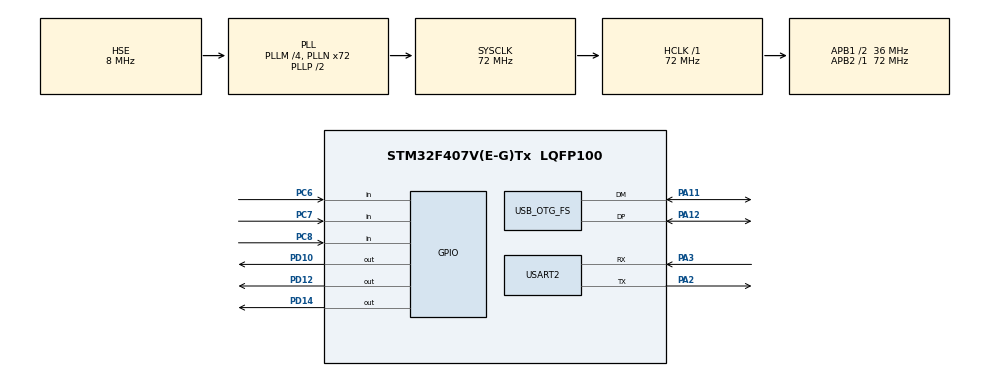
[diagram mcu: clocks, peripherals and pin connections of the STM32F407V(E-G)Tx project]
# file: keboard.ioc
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Mcu.Family=STM32F4
Mcu.Name=STM32F407V(E-G)Tx
Mcu.Package=LQFP100
NVIC.OTG_FS_IRQn=true\:0\:0\:false\:false\:true\:false\:true\:true
NVIC.PriorityGroup=NVIC_PRIORITYGROUP_4
PA11.Mode=Device_Only
PA11.Signal=USB_OTG_FS_DM
PA12.Mode=Device_Only
PA12.Signal=USB_OTG_FS_DP
PA13.Mode=Serial_Wire
PA13.Signal=SYS_JTMS-SWDIO
PA14.Mode=Serial_Wire
PA14.Signal=SYS_JTCK-SWCLK
PA2.Mode=Asynchronous
PA2.Signal=USART2_TX
PA3.Mode=Asynchronous
PA3.Signal=USART2_RX
PC6.Signal=GPIO_Input
PC7.Signal=GPIO_Input
PC8.Signal=GPIO_Input
PD10.Signal=GPIO_Output
PD12.Signal=GPIO_Output
PD14.Signal=GPIO_Output
PH0-OSC_IN.Mode=HSE-External-Oscillator
PH0-OSC_IN.Signal=RCC_OSC_IN
PH1-OSC_OUT.Mode=HSE-External-Oscillator
PH1-OSC_OUT.Signal=RCC_OSC_OUT
ProjectManager.HeapSize=0x200
ProjectManager.StackSize=0x400
ProjectManager.TargetToolchain=Makefile
RCC.48MHZClocksFreq_Value=48000000
RCC.AHBFreq_Value=72000000
RCC.APB1CLKDivider=RCC_HCLK_DIV2
RCC.APB1Freq_Value=36000000
RCC.APB1TimFreq_Value=72000000
RCC.APB2Freq_Value=72000000
RCC.APB2TimFreq_Value=72000000
RCC.CortexFreq_Value=72000000
RCC.HCLKFreq_Value=72000000
RCC.HSE_VALUE=8000000
RCC.HSI_VALUE=16000000
RCC.LSE_VALUE=32768
RCC.PLLM=4
RCC.PLLN=72
RCC.PLLQ=3
RCC.SYSCLKFreq_VALUE=72000000
RCC.SYSCLKSource=RCC_SYSCLKSOURCE_PLLCLK
RCC.VCOOutputFreq_Value=144000000
USART2.VirtualMode=VM_ASYNC
USB_DEVICE.CLASS_NAME_FS=HID
USB_DEVICE.VirtualMode-HID_FS=Hid
USB_DEVICE.VirtualModeFS=Hid_FS
USB_OTG_FS.VirtualMode=Device_Only
VP_USB_DEVICE_VS_USB_DEVICE_HID_FS.Mode=HID_FS
board=custom

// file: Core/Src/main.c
/* USER CODE BEGIN Header */
/**
 ******************************************************************************
 * @file           : main.c
 * @brief          : Main program body
 ******************************************************************************
 * @attention
 *
 * Copyright (c) 2025 STMicroelectronics.
 * All rights reserved.
 *
 * This software is licensed under terms that can be found in the LICENSE file
 * in the root directory of this software component.
 * If no LICENSE file comes with this software, it is provided AS-IS.
 *
 ******************************************************************************
 */
/* USER CODE END Header */
#include "main.h"
#include "usb_device.h"

/* USER CODE BEGIN Includes */
#include "matrix_keyboard.h"
#include "usb_keyboard.h"
#include "usbd_hid.h"
#include <stdio.h>
/* USER CODE END Includes */

UART_HandleTypeDef huart2;

/* USER CODE BEGIN PV */
uint32_t scan_timer = 0;
/* USER CODE END PV */

void SystemClock_Config(void);
static void MX_GPIO_Init(void);
static void MX_USART2_UART_Init(void);

/* USER CODE BEGIN 0 */

/**
 * @brief Printf 重定向到 UART
 */
#ifdef __GNUC__
#define PUTCHAR_PROTOTYPE int __io_putchar(int ch)
#else
#define PUTCHAR_PROTOTYPE int fputc(int ch, FILE *f)
#endif

PUTCHAR_PROTOTYPE {
  HAL_UART_Transmit(&huart2, (uint8_t *)&ch, 1, HAL_MAX_DELAY);
  return ch;
}

/* USER CODE END 0 */

int main(void)
{

  /* MCU Configuration--------------------------------------------------------*/

  /* Reset of all peripherals, Initializes the Flash interface and the Systick. */
  HAL_Init();

  /* Configure the system clock */
  SystemClock_Config();

  /* Initialize all configured peripherals */
  MX_GPIO_Init();
  MX_USART2_UART_Init();
  MX_USB_DEVICE_Init();
  /* USER CODE BEGIN 2 */

  /* Initialize matrix keyboard */
  Matrix_Keyboard_Init();

  /* Initialize USB keyboard */
  USB_Keyboard_Init();

  /* Print welcome message */
  printf("\r\n===============================================\r\n");
  printf("   USB Keyboard - STM32F407\r\n");
  printf("   Matrix: 3x3 (9 keys)\r\n");
  printf("   USB: HID Keyboard\r\n");
  printf("   UART2: 115200 baud\r\n");
  printf("===============================================\r\n");
  printf("Waiting for USB connection...\r\n\r\n");

  /* USER CODE END 2 */

  /* Infinite loop */
  while (1) {

    /* USER CODE BEGIN 3 */
    /* Scan keyboard every 10ms */
    if ((HAL_GetTick() - scan_timer) >= 10) {
      scan_timer = HAL_GetTick();
      Matrix_Keyboard_Scan();
    }
  }
  /* USER CODE END 3 */
}

void SystemClock_Config(void)
{
  RCC_OscInitTypeDef RCC_OscInitStruct = {0};
  RCC_ClkInitTypeDef RCC_ClkInitStruct = {0};

  /** Configure the main internal regulator output voltage
  */
  __HAL_RCC_PWR_CLK_ENABLE();
  __HAL_PWR_VOLTAGESCALING_CONFIG(PWR_REGULATOR_VOLTAGE_SCALE1);

  /** Initializes the RCC Oscillators according to the specified parameters
  * in the RCC_OscInitTypeDef structure.
  */
  RCC_OscInitStruct.OscillatorType = RCC_OSCILLATORTYPE_HSE;
  RCC_OscInitStruct.HSEState = RCC_HSE_ON;
  RCC_OscInitStruct.PLL.PLLState = RCC_PLL_ON;
  RCC_OscInitStruct.PLL.PLLSource = RCC_PLLSOURCE_HSE;
  RCC_OscInitStruct.PLL.PLLM = 4;
  RCC_OscInitStruct.PLL.PLLN = 72;
  RCC_OscInitStruct.PLL.PLLP = RCC_PLLP_DIV2;
  RCC_OscInitStruct.PLL.PLLQ = 3;
  if (HAL_RCC_OscConfig(&RCC_OscInitStruct) != HAL_OK)
  {
    Error_Handler();
  }

  /** Initializes the CPU, AHB and APB buses clocks
  */
  RCC_ClkInitStruct.ClockType = RCC_CLOCKTYPE_HCLK|RCC_CLOCKTYPE_SYSCLK
                              |RCC_CLOCKTYPE_PCLK1|RCC_CLOCKTYPE_PCLK2;
  RCC_ClkInitStruct.SYSCLKSource = RCC_SYSCLKSOURCE_PLLCLK;
  RCC_ClkInitStruct.AHBCLKDivider = RCC_SYSCLK_DIV1;
  RCC_ClkInitStruct.APB1CLKDivider = RCC_HCLK_DIV2;
  RCC_ClkInitStruct.APB2CLKDivider = RCC_HCLK_DIV1;

  if (HAL_RCC_ClockConfig(&RCC_ClkInitStruct, FLASH_LATENCY_2) != HAL_OK)
  {
    Error_Handler();
  }
}

static void MX_USART2_UART_Init(void)
{

  huart2.Instance = USART2;
  huart2.Init.BaudRate = 115200;
  huart2.Init.WordLength = UART_WORDLENGTH_8B;
  huart2.Init.StopBits = UART_STOPBITS_1;
  huart2.Init.Parity = UART_PARITY_NONE;
  huart2.Init.Mode = UART_MODE_TX_RX;
  huart2.Init.HwFlowCtl = UART_HWCONTROL_NONE;
  huart2.Init.OverSampling = UART_OVERSAMPLING_16;
  if (HAL_UART_Init(&huart2) != HAL_OK)
  {
    Error_Handler();
  }

}

static void MX_GPIO_Init(void)
{
  GPIO_InitTypeDef GPIO_InitStruct = {0};

  /* GPIO Ports Clock Enable */
  __HAL_RCC_GPIOH_CLK_ENABLE();
  __HAL_RCC_GPIOA_CLK_ENABLE();
  __HAL_RCC_GPIOD_CLK_ENABLE();
  __HAL_RCC_GPIOC_CLK_ENABLE();

  /*Configure GPIO pin Output Level */
  HAL_GPIO_WritePin(GPIOD, GPIO_PIN_10|GPIO_PIN_12|GPIO_PIN_14, GPIO_PIN_RESET);

  /*Configure GPIO pins : PD10 PD12 PD14 */
  GPIO_InitStruct.Pin = GPIO_PIN_10|GPIO_PIN_12|GPIO_PIN_14;
  GPIO_InitStruct.Mode = GPIO_MODE_OUTPUT_PP;
  GPIO_InitStruct.Pull = GPIO_NOPULL;
  GPIO_InitStruct.Speed = GPIO_SPEED_FREQ_LOW;
  HAL_GPIO_Init(GPIOD, &GPIO_InitStruct);

  /*Configure GPIO pins : PC6 PC7 PC8 */
  GPIO_InitStruct.Pin = GPIO_PIN_6|GPIO_PIN_7|GPIO_PIN_8;
  GPIO_InitStruct.Mode = GPIO_MODE_INPUT;
  GPIO_InitStruct.Pull = GPIO_NOPULL;
  HAL_GPIO_Init(GPIOC, &GPIO_InitStruct);

}

/* USER CODE BEGIN 4 */

/**
 * @brief Matrix keyboard key callback function
 * @param key_code: Key code (0-8)
 * @param pressed: 1 = key pressed, 0 = key released
 * @retval None
 */
void Matrix_Key_Callback(uint8_t key_code, uint8_t pressed) {
  const char *key_names[] = {"1", "2", "3", "4", "5", "6", "7", "8", "9"};

  if (pressed) {
    printf("[USB] Key %s pressed\r\n", key_names[key_code]);
  } else {
    printf("[USB] Key %s released\r\n", key_names[key_code]);
  }

  /* Send to USB HID */
  USB_Keyboard_HandleMatrixKey(key_code, pressed);
}

/* USER CODE END 4 */

void Error_Handler(void)
{
  __disable_irq();
  while (1) {
  }
}
#ifdef USE_FULL_ASSERT
/**
  * @brief  Reports the name of the source file and the source line number
  *         where the assert_param error has occurred.
  * @param  file: pointer to the source file name
  * @param  line: assert_param error line source number
  * @retval None
  */
void assert_failed(uint8_t *file, uint32_t line)
{
  /* USER CODE BEGIN 6 */
  /* User can add his own implementation to report the file name and line
     number, ex: printf("Wrong parameters value: file %s on line %d\r\n", file,
     line) */
  /* USER CODE END 6 */
}
#endif /* USE_FULL_ASSERT */
